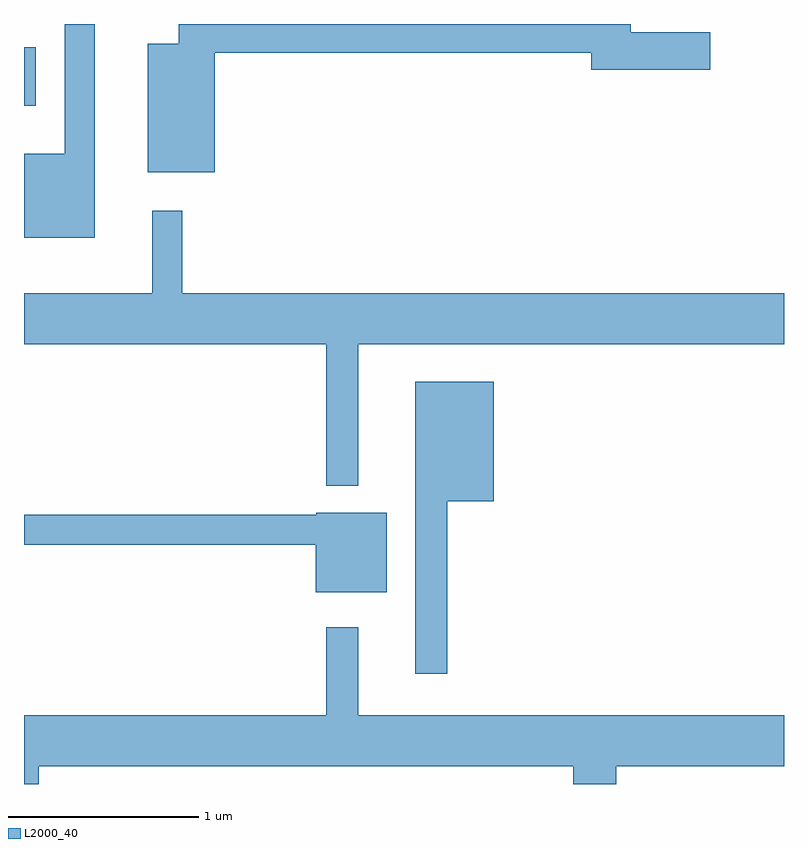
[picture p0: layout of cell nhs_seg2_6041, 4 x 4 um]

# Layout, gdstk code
import gdstk
lib = gdstk.Library(unit=1e-6, precision=1e-09)
def R(c, l, rs):  # rectangles x0, y0, x1, y1
    for r in rs: c.add(gdstk.rectangle(r[:2], r[2:], *l))
def P(c, l, *ps):  # polygons
    for p in ps: c.add(gdstk.Polygon(p, *l))
L2000_40 = (2000, 40)

nhs_seg2_6041 = lib.new_cell('nhs_seg2_6041')
R(nhs_seg2_6041, L2000_40, [(363.611,1027.371,363.674,1027.679)])
P(nhs_seg2_6041, L2000_40, [(364.614,1027.651),(366.596,1027.651),(366.596,1027.561),(367.224,1027.561),(367.224,1027.759),(366.804,1027.759),(366.804,1027.802),(364.426,1027.802),(364.426,1027.699),(364.261,1027.699),(364.261,1027.021),(364.614,1027.021)],
  [(363.984,1027.802),(363.826,1027.802),(363.826,1027.119),(363.611,1027.119),(363.611,1026.676),(363.984,1026.676)],
  [(365.369,1026.116),(367.611,1026.116),(367.611,1026.384),(364.444,1026.384),(364.444,1026.818),(364.286,1026.818),(364.286,1026.384),(363.611,1026.384),(363.611,1026.116),(365.201,1026.116),(365.201,1025.373),(365.369,1025.373)],
  [(365.839,1025.291),(366.084,1025.291),(366.084,1025.919),(365.671,1025.919),(365.671,1024.382),(365.839,1024.382)],
  [(365.519,1025.229),(365.15,1025.229),(365.15,1025.219),(363.611,1025.219),(363.611,1025.061),(365.146,1025.061),(365.146,1024.811),(365.519,1024.811)],
  [(363.689,1023.896),(366.501,1023.896),(366.501,1023.802),(366.729,1023.802),(366.729,1023.896),(367.611,1023.896),(367.611,1024.164),(365.369,1024.164),(365.369,1024.628),(365.201,1024.628),(365.201,1024.164),(363.611,1024.164),(363.611,1023.802),(363.689,1023.802)])

lib.write_gds('nhs_seg2_6041.gds')
